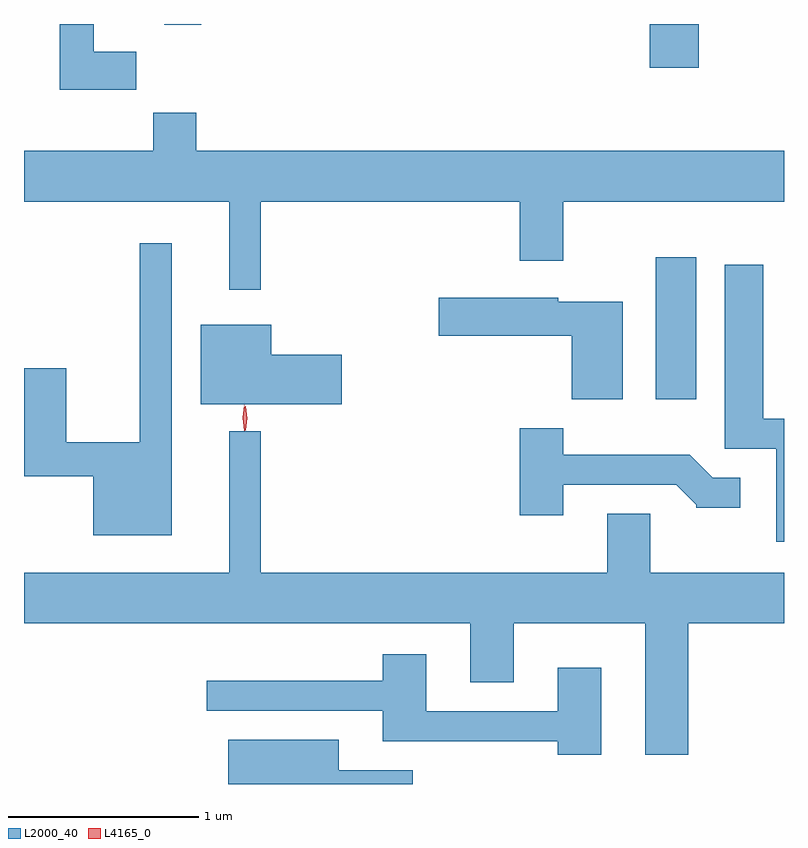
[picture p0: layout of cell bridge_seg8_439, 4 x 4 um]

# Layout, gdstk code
import gdstk
lib = gdstk.Library(unit=1e-6, precision=1e-09)
def R(c, l, rs):  # rectangles x0, y0, x1, y1
    for r in rs: c.add(gdstk.rectangle(r[:2], r[2:], *l))
def P(c, l, *ps):  # polygons
    for p in ps: c.add(gdstk.Polygon(p, *l))
L2000_40 = (2000, 40)
L4165_0 = (4165, 0)

bridge_seg8_439 = lib.new_cell('bridge_seg8_439')
R(bridge_seg8_439, L2000_40, [(987.116,1830.936,987.329,1831.684), (987.086,1832.681,987.344,1832.911), (984.53,1832.906,984.724,1832.911)])
P(bridge_seg8_439, L2000_40, [(984.384,1832.764),(984.159,1832.764),(984.159,1832.911),(983.981,1832.911),(983.981,1832.566),(984.384,1832.566)],
  [(985.039,1831.976),(986.401,1831.976),(986.401,1831.666),(986.629,1831.666),(986.629,1831.976),(987.792,1831.976),(987.792,1832.244),(984.699,1832.244),(984.699,1832.444),(984.471,1832.444),(984.471,1832.244),(983.792,1832.244),(983.792,1831.976),(984.871,1831.976),(984.871,1831.513),(985.039,1831.513)],
  [(984.569,1831.758),(984.401,1831.758),(984.401,1830.709),(984.014,1830.709),(984.014,1831.099),(983.792,1831.099),(983.792,1830.531),(984.156,1830.531),(984.156,1830.221),(984.569,1830.221)],
  [(987.792,1830.834),(987.684,1830.834),(987.684,1831.644),(987.481,1831.644),(987.481,1830.676),(987.751,1830.676),(987.751,1830.186),(987.792,1830.186)],
  [(986.944,1831.449),(986.604,1831.449),(986.604,1831.469),(985.976,1831.469),(985.976,1831.271),(986.676,1831.271),(986.676,1830.936),(986.944,1830.936)],
  [(985.464,1831.169),(985.094,1831.169),(985.094,1831.329),(984.721,1831.329),(984.721,1830.911),(985.464,1830.911)],
  [(986.629,1830.486),(987.224,1830.486),(987.33,1830.38),(987.33,1830.366),(987.563,1830.366),(987.563,1830.524),(987.417,1830.524),(987.297,1830.644),(986.629,1830.644),(986.629,1830.784),(986.401,1830.784),(986.401,1830.326),(986.629,1830.326)],
  [(987.289,1829.756),(987.792,1829.756),(987.792,1830.024),(987.089,1830.024),(987.089,1830.334),(986.861,1830.334),(986.861,1830.024),(985.039,1830.024),(985.039,1830.768),(984.871,1830.768),(984.871,1830.024),(983.792,1830.024),(983.792,1829.756),(986.141,1829.756),(986.141,1829.446),(986.369,1829.446),(986.369,1829.756),(987.061,1829.756),(987.061,1829.066),(987.289,1829.066)],
  [(986.829,1829.524),(986.601,1829.524),(986.601,1829.294),(985.909,1829.294),(985.909,1829.594),(985.681,1829.594),(985.681,1829.454),(984.753,1829.454),(984.753,1829.296),(985.681,1829.296),(985.681,1829.136),(986.601,1829.136),(986.601,1829.066),(986.829,1829.066)],
  [(985.839,1828.984),(985.449,1828.984),(985.449,1829.144),(984.866,1829.144),(984.866,1828.911),(985.839,1828.911)])
P(bridge_seg8_439, L4165_0, [(984.952,1830.77),(984.952,1830.77),(984.942,1830.838),(984.95,1830.905),(984.951,1830.906),(984.951,1830.905),(984.961,1830.838),(984.953,1830.77)],
  [(984.957,1830.773),(984.957,1830.773),(984.947,1830.836),(984.957,1830.899),(984.957,1830.9),(984.958,1830.899),(984.967,1830.836),(984.958,1830.773)])

lib.write_gds('bridge_seg8_439.gds')
